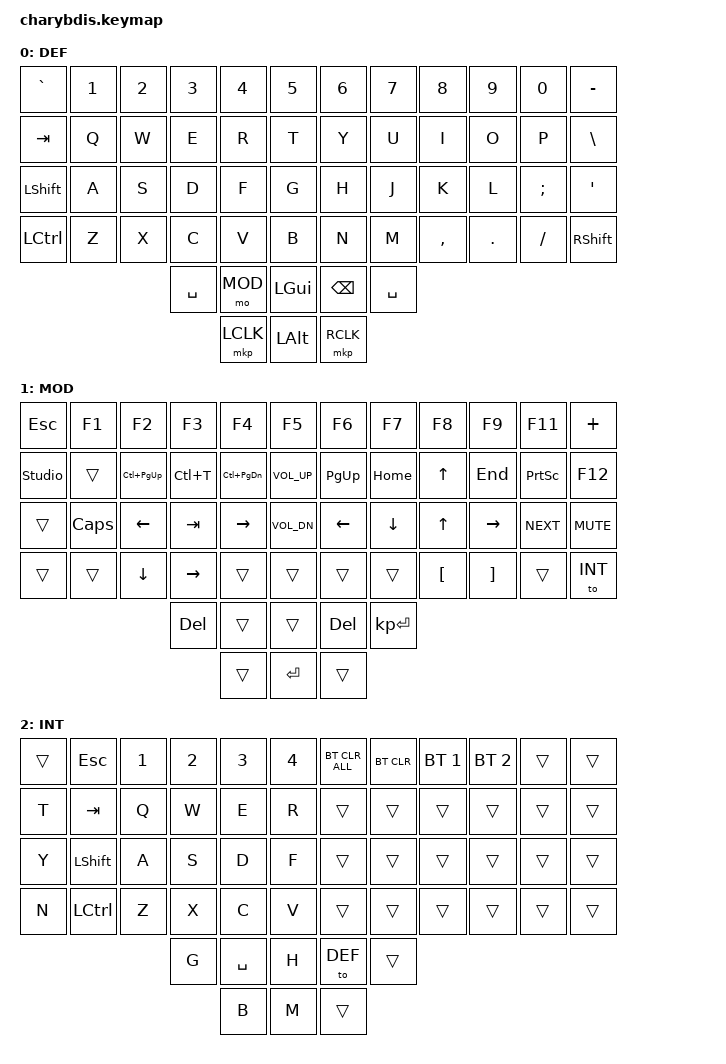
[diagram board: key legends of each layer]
#include <behaviors.dtsi>
#include <dt-bindings/zmk/bt.h>
#include <dt-bindings/zmk/keys.h>
#include <dt-bindings/zmk/mouse.h>
#include <dt-bindings/zmk/outputs.h>
#include <behaviors/mouse_keys.dtsi>
#include <dt-bindings/zmk/ext_power.h>
#include "macros.dtsi"

// / {
//     chosen { zmk,matrix_transform = &default_transform; };
// };

/ {
    /* input config for mouse move mode */
    trackball_listener {
        compatible = "zmk,input-behavior-listener";
        device = <&trackball>;
        layers = <0 2>;
        evt-type = <INPUT_EV_REL>;
        x-input-code = <INPUT_REL_X>;
        y-input-code = <INPUT_REL_Y>;
        scale-multiplier = <1>;
        scale-divisor = <2>;
        // bindings = <&ib_toggle_layer 7>;
    };

    /* input config for snipe mode */
    trackball_snipe_listener {
        compatible = "zmk,input-behavior-listener";   
        device = <&trackball>;
        layers = <3>;
        evt-type = <INPUT_EV_REL>;
        x-input-code = <INPUT_REL_X>;
        y-input-code = <INPUT_REL_Y>;
        scale-multiplier = <1>;
        scale-divisor = <4>;
    };

    /* input config for mouse scroll mode */
    trackball_scroll_listener {
        compatible = "zmk,input-behavior-listener";
        device = <&trackball>;
        layers = <1>;
        evt-type = <INPUT_EV_REL>;            
        x-input-code = <INPUT_REL_MISC>;
        y-input-code = <INPUT_REL_WHEEL>;
        y-invert;
        bindings = <&ib_wheel_scaler 1 14>;
    };

    /* define a resolution down scaler only for INPUT_REL_WHEEL */
    ib_wheel_scaler: ib_wheel_scaler {
        compatible = "zmk,input-behavior-scaler";
        #binding-cells = <2>;
        evt-type = <INPUT_EV_REL>;
        input-code = <INPUT_REL_WHEEL>;
    };

    /* adjust cooldown waiting period for mouse key layer after activated */
    ib_toggle_layer: ib_toggle_layer {
        compatible = "zmk,input-behavior-tog-layer";
        #binding-cells = <1>;
        time-to-live-ms = <750>;
    };

#define DEF 0
#define MOD 1
#define INT 2

    keymap {
        compatible = "zmk,keymap";
DEF {
bindings = <
&kp GRAVE      &kp N1 &kp N2 &kp N3   &kp N4    &kp N5         &kp N6        &kp N7         &kp N8    &kp N9  &kp N0    &kp MINUS
&kp TAB        &kp Q  &kp W  &kp E    &kp R     &kp T          &kp Y         &kp U          &kp I     &kp O   &kp P     &kp BACKSLASH
&kp LSHIFT     &kp A  &kp S  &kp D    &kp F     &kp G          &kp H         &kp J          &kp K     &kp L   &kp SEMI  &kp APOS
&kp LCTRL      &kp Z  &kp X  &kp C    &kp V     &kp B          &kp N         &kp M          &kp COMMA &kp DOT &kp SLASH &kp RSHIFT
                             &kp SPACE &mo MOD   &kp LGUI       &kp BSPC      &kp SPACE
                                      &mkp LCLK &kp LALT       &mkp RCLK
>;
};
MOD {
bindings = <
&kp ESC        &kp F1       &kp F2           &kp F3        &kp F4          &kp F5            &kp F6     &kp F7      &kp F8      &kp F9      &kp F11     &kp PLUS
&studio_unlock &trans       &kp LC(PG_UP)    &kp LC(T)     &kp LC(PG_DN)   &kp C_VOL_UP      &kp PG_UP  &kp HOME    &kp UP      &kp END     &kp PSCRN   &kp F12
&trans         &kp CAPS     &kp LEFT         &kp TAB       &kp RIGHT       &kp C_VOL_DN      &kp LEFT   &kp DOWN    &kp UP      &kp RIGHT   &kp C_NEXT  &kp K_MUTE
&trans         &trans       &kp DOWN         &kp RIGHT     &trans          &trans            &trans     &trans      &kp LBKT    &kp RBKT    &trans      &to INT
                                             &kp DEL       &trans          &trans            &kp DEL    &kp KP_ENTER
                                                           &trans          &kp RET           &trans
>;
};
INT {
bindings = <
&trans       &kp ESC      &kp N1       &kp N2       &kp N3       &kp N4            &bt BT_CLR_ALL &bt BT_CLR &bt BT_SEL 1 &bt BT_SEL 2 &trans     &trans
&kp T        &kp TAB      &kp Q        &kp W        &kp E        &kp R             &trans       &trans  &trans       &trans       &trans     &trans
&kp Y        &kp LSHIFT   &kp A        &kp S        &kp D        &kp F             &trans       &trans  &trans       &trans       &trans     &trans
&kp N        &kp LCTRL    &kp Z        &kp X        &kp C        &kp V             &trans       &trans  &trans       &trans       &trans     &trans
                                       &kp G        &kp SPACE    &kp H             &to DEF       &trans
                                                    &kp B        &kp M             &trans
>;
};
};
};
